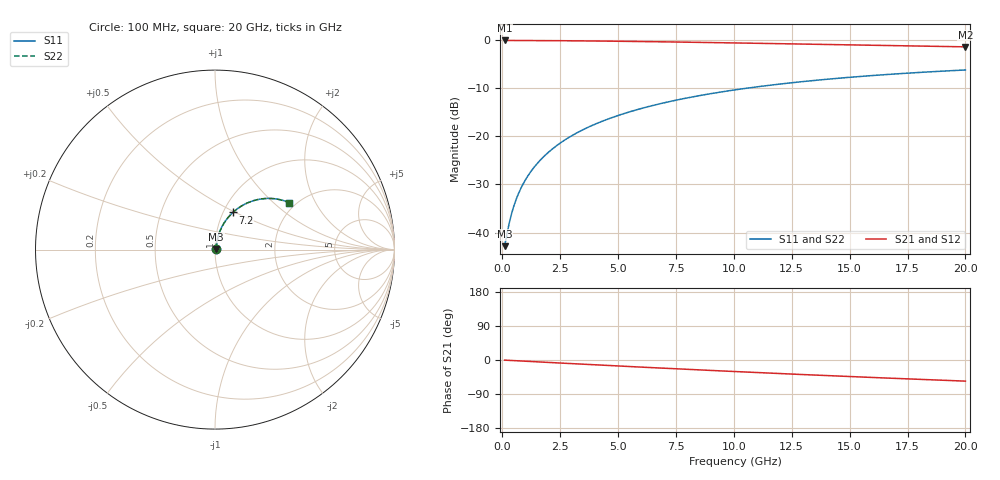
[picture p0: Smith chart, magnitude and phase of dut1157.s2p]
! Touchstone file exported from HFSS 2026.1.0
!  File:  C:/ffzhzh/LocalFiles/Ansys_Project_Files/temp_train_BSMRDL_1157_1783175743_18472.aedt
!  Generated:  10:37:03 PM Jul  4, 2026
!  Design:  BSMRDL
!  Project:  temp_train_BSMRDL_1157_1783175743_18472
! Variables:
!  h_bsmrdl = 4.34um
!  h_ox = 20um
!  h_rdl = 5um
!  h_sub = 80um
!  h_tmrdl = 5um
!  h_tsv = 80um
!  h_via = 3um
!  l_bsmrdl = 878.83um
!  l_sub = 1278.83um
!  l_tmrdl = 200um
!  m_sub = 200um
!  pitch = 32.64um
!  r_tsv = 6um
!  s_tmrdl = 10um
!  w_bsmrdl = 11.46um
!  w_sub = 500um
!  w_tmrdl = 12um
!  x_tsv_center1 = 206um
!  x_tsv_center2 = 1096.29um
!  x_tsv_center3 = 1308.29um
!  x_tsv_center4 = 2198.58um
!  x_tsv_center5 = 2410.58um
!  x_tsv_center6 = 3300.87um
# GHz S MA R 50.000000
! Terminal data exported
! Port[1] = BSM_RDL1_1_T1
! Port[2] = BSM_RDL1_1_T2
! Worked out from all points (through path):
!   200 points, 100 MHz to 20 GHz, reference 50 ohm
!   highest |S21| = -0.05 dB at 100 MHz (marker M1); lowest = -1.4 dB at 20 GHz (marker M2)
!   group delay of S21, straight-line fit = 7.74 ps
!   lowest |S11| = -42.8 dB at 100 MHz (marker M3), VSWR 1.01, Z = 50.6 + j0.365 ohm
!   |S11| at or under -10 dB: start of sweep to 10.53 GHz
!   |S22| runs from -42.8 to -6.2 dB; largest |S21 - S12| = 2e-15
!   S11 on the Smith chart (normalised r, x): 100 MHz: 1.01, +0.01; 7.2 GHz: 1.11, +0.48; 20 GHz: 1.85, +1.27
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0.1  0.007218 30.0  0.9938 -0.3  0.9938 -0.3  0.007218 30.0
! Gamma 0 0 0 0
! Port Impedance 50 0 50 0
0.3  0.01257 57.8  0.9934 -1.0  0.9934 -1.0  0.01257 57.8
0.4  0.01571 63.6  0.9932 -1.3  0.9932 -1.3  0.01571 63.6
0.5  0.01892 67.3  0.993 -1.6  0.993 -1.6  0.01892 67.3
0.6  0.02216 69.8  0.9929 -2.0  0.9929 -2.0  0.02216 69.8
0.8  0.02872 73.0  0.9925 -2.6  0.9925 -2.6  0.02872 73.0
1  0.03533 74.9  0.9921 -3.2  0.9921 -3.2  0.03533 74.9
1.2  0.04197 75.9  0.9917 -3.9  0.9917 -3.9  0.04197 75.9
1.4  0.04863 76.5  0.9913 -4.5  0.9913 -4.5  0.04863 76.5
1.7  0.05862 76.9  0.9905 -5.5  0.9905 -5.5  0.05862 76.9
2.2  0.07524 76.7  0.989 -7.1  0.989 -7.1  0.07524 76.7
2.8  0.09501 75.8  0.9868 -8.9  0.9868 -8.9  0.09501 75.8
3.5  0.1177 74.3  0.9836 -11.1  0.9836 -11.1  0.1177 74.3
4.2  0.14 72.5  0.98 -13.3  0.98 -13.3  0.14 72.5
5  0.1649 70.4  0.9752 -15.8  0.9752 -15.8  0.1649 70.4
6.8  0.2181 65.4  0.9629 -21.2  0.9629 -21.2  0.2181 65.4
7.2  0.2294 64.3  0.9599 -22.3  0.9599 -22.3  0.2295 64.3
8.6  0.2676 60.5  0.9488 -26.4  0.9488 -26.4  0.2676 60.4
10.1  0.3057 56.4  0.9362 -30.6  0.9362 -30.6  0.3057 56.4
13.4  0.3801 47.9  0.9074 -39.5  0.9074 -39.5  0.3801 47.8
16.7  0.4413 39.8  0.879 -47.9  0.879 -47.9  0.4413 39.8
20  0.4902 32.2  0.8529 -55.8  0.8529 -55.8  0.4902 32.1
